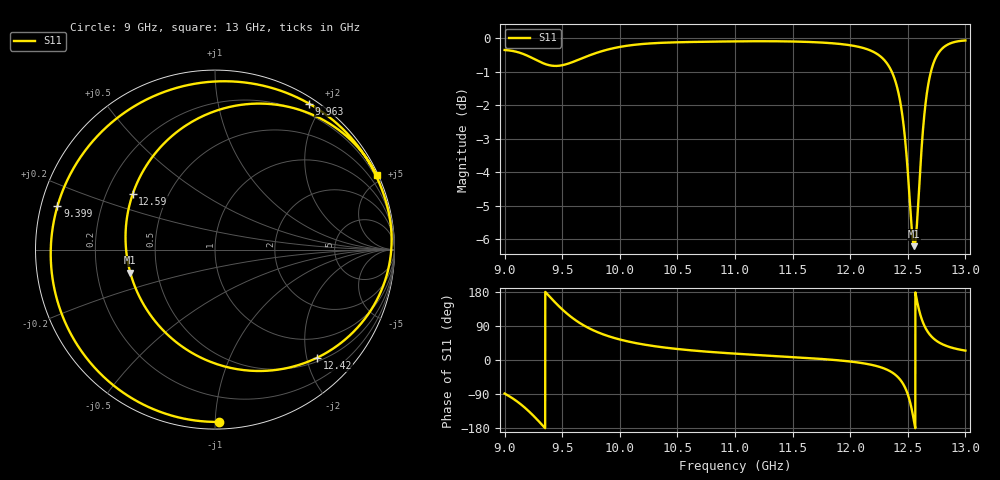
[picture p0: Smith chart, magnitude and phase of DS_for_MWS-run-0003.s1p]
! TOUCHSTONE file generated by CST DESIGN STUDIO
! Date and time: Tue Feb  4 14:29:00 2025
! Project name: C:\Work\MatlabApps\UnitCellOptimizationMatlab\CST\unitcell.cst
! Tree item: Tasks\Sweep1\SPara1\S-Parameters
! Header version: 2024
! Port assignment regex: !\s*Touchstone port\s*([0-9]+)\s*=\s*(CST MWS port|CST DES external port|CST DES block port)\s*(.+)\s* \(\"(.*)\"\)(\s*mode\s*([0-9]+))?.*
! Touchstone port assignment:
! Touchstone port 1 = CST DES external port 1 ("")
# GHz S MA R 50
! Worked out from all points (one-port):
!   4001 points, 9 GHz to 13 GHz, reference 50 ohm
!   lowest |S11| = -6.2 dB at 12.56 GHz (marker M1), VSWR 2.92, Z = 17.4 - j5.89 ohm
!   |S11| at or under -10 dB: nowhere
!   S11 on the Smith chart (normalised r, x): 9 GHz: 0.04, -1.02; 9.399 GHz: 0.05, +0.14; 9.963 GHz: 0.07, +1.83; 12.42 GHz: 0.57, -2.19; 12.59 GHz: 0.31, +0.28; 13 GHz: 0.08, +4.55
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9  0.9602 -88.6
9.103  0.9543 -108.2
9.191  0.9427 -129.9
9.302  0.9227 -163.5
9.399  0.9105 164.6
9.5  0.9113 133.6
9.582  0.9201 112.6
9.675  0.9337 93.4
9.812  0.9526 72.8
9.963  0.9677 57.2
10  0.9705 54.1
10.5  0.9861 29.0
11  0.9891 16.8
11.5  0.9887 7.7
12  0.9761 -4.0
12.282  0.933 -20.9
12.419  0.8286 -46.7
12.467  0.7325 -67.2
12.5  0.6318 -90.7
12.527  0.5402 -120.2
12.556  0.4892 -164.8
12.587  0.5533 145.9
12.618  0.6781 110.5
12.649  0.7849 87.2
12.696  0.8845 65.2
12.747  0.9381 51.0
12.847  0.9784 35.8
13  0.9923 24.8
